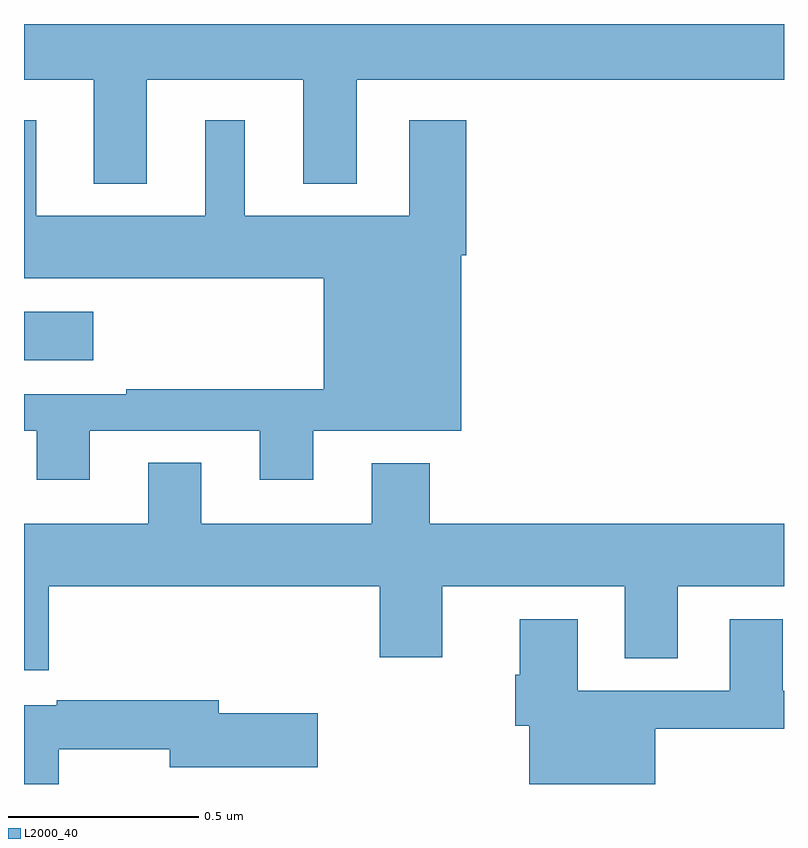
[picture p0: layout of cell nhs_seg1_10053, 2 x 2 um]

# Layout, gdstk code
import gdstk
lib = gdstk.Library(unit=1e-6, precision=1e-09)
def R(c, l, rs):  # rectangles x0, y0, x1, y1
    for r in rs: c.add(gdstk.rectangle(r[:2], r[2:], *l))
def P(c, l, *ps):  # polygons
    for p in ps: c.add(gdstk.Polygon(p, *l))
L2000_40 = (2000, 40)

nhs_seg1_10053 = lib.new_cell('nhs_seg1_10053')
R(nhs_seg1_10053, L2000_40, [(236,564.314,236.182,564.442)])
P(nhs_seg1_10053, L2000_40, [(236.323,565.052),(236.735,565.052),(236.735,564.779),(236.875,564.779),(236.875,565.052),(238,565.052),(238,565.199),(236,565.199),(236,565.052),(236.183,565.052),(236.183,564.779),(236.323,564.779)],
  [(236.173,564.129),(236.621,564.129),(236.621,564),(236.761,564),(236.761,564.128),(237.151,564.128),(237.151,564.59),(237.164,564.59),(237.164,564.946),(237.014,564.946),(237.014,564.694),(236.581,564.694),(236.581,564.946),(236.477,564.946),(236.477,564.694),(236.032,564.694),(236.032,564.946),(236,564.946),(236,564.53),(236.789,564.53),(236.789,564.238),(236.269,564.238),(236.269,564.225),(236,564.225),(236,564.129),(236.033,564.129),(236.033,564),(236.173,564)],
  [(236.065,563.72),(236.936,563.72),(236.936,563.532),(237.1,563.532),(237.1,563.72),(237.581,563.72),(237.581,563.53),(237.721,563.53),(237.721,563.72),(238,563.72),(238,563.884),(237.068,563.884),(237.068,564.043),(236.915,564.043),(236.915,563.884),(236.467,563.884),(236.467,564.044),(236.327,564.044),(236.327,563.884),(236,563.884),(236,563.499),(236.065,563.499)],
  [(237.661,563.344),(238,563.344),(238,563.445),(237.997,563.445),(237.997,563.632),(237.857,563.632),(237.857,563.445),(237.457,563.445),(237.457,563.632),(237.305,563.632),(237.305,563.486),(237.293,563.486),(237.293,563.352),(237.329,563.352),(237.329,563.199),(237.661,563.199)],
  [(236.092,563.29),(236.384,563.29),(236.384,563.243),(236.773,563.243),(236.773,563.385),(236.512,563.385),(236.512,563.419),(236.086,563.419),(236.086,563.406),(236,563.406),(236,563.199),(236.092,563.199)])

lib.write_gds('nhs_seg1_10053.gds')
